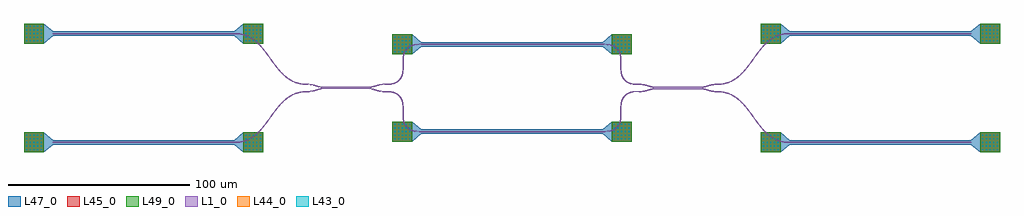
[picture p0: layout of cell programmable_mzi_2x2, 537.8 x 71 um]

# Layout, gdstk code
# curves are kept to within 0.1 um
from math import pi, radians
import gdstk
lib = gdstk.Library(unit=1e-6, precision=1e-09)
def R(c, l, rs):  # rectangles x0, y0, x1, y1
    for r in rs: c.add(gdstk.rectangle(r[:2], r[2:], *l))
def A(c, l, x, y, w, h, nx, ny, dx, dy):  # array of equal rectangles
    R(c, l, [(x+i*dx, y+j*dy, x+i*dx+w, y+j*dy+h) for i in range(nx) for j in range(ny)])
def P(c, l, *ps):  # polygons
    for p in ps: c.add(gdstk.Polygon(p, *l))
L1_0 = (1, 0)
L43_0 = (43, 0)
L44_0 = (44, 0)
L45_0 = (45, 0)
L47_0 = (47, 0)
L49_0 = (49, 0)

coupler_gdsfactorypcompo = lib.new_cell('coupler_gdsfactorypcomponentspcouplerspcoupler_G0p236_L_64f00263')
P(coupler_gdsfactorypcompo, L1_0, [(-10,-1.882),(-10,-1.382),(-8.633,-1.335),(-7.417,-1.193),(-6.249,-0.938),(-3.065,-0.019),(-1.652,0.182),(-0.303,0.248),(24.011,0.226),(26.256,-0.059),(30.222,-1.159),(31.511,-1.326),(33,-1.382),(33,-1.882),(30.877,-1.764),(29.291,-1.466),(26.059,-0.528),(24.952,-0.351),(23.719,-0.262),(-0.297,-0.252),(-1.725,-0.327),(-3.059,-0.528),(-6.034,-1.397),(-7.335,-1.686),(-8.597,-1.834)],
  [(0,0.486),(-1.403,0.534),(-2.665,0.682),(-3.796,0.925),(-7.126,1.877),(-8.511,2.062),(-10,2.118),(-10,2.618),(-8.597,2.57),(-7.335,2.422),(-6.204,2.179),(-2.874,1.227),(-1.489,1.042),(0,0.986),(23.986,1.009),(26.24,1.303),(28.95,2.11),(30.132,2.386),(31.471,2.56),(33,2.618),(33,2.118),(31.511,2.062),(30.222,1.895),(29.086,1.629),(26.441,0.837),(24.275,0.525)])

bend_euler_gdsfactorypco = lib.new_cell('bend_euler_gdsfactorypcomponentspbendspbend_euler_RNone_387600b2')
P(bend_euler_gdsfactorypco, L1_0, [(0,-0.25),(0,0.25),(2.881,0.353),(3.952,0.52),(4.99,0.806),(6.431,1.505),(7.575,2.425),(8.495,3.569),(9.194,5.01),(9.48,6.048),(9.647,7.119),(9.75,10),(10.25,10),(10.158,7.205),(9.797,5.254),(9.457,4.312),(9.066,3.545),(8.5,2.715),(7.928,2.072),(7.285,1.5),(6.455,0.934),(5.688,0.543),(4.746,0.203),(2.795,-0.158)])

straight_gdsfactorypcomp = lib.new_cell('straight_gdsfactorypcomponentspwaveguidespstraight_L2_N_815d3d03')
R(straight_gdsfactorypcomp, L1_0, [(0,-0.25,2,0.25)])

straight_heater_metal_un = lib.new_cell('straight_heater_metal_undercut_gdsfactorypcomponentspwa_dd0fab64')
R(straight_heater_metal_un, L1_0, [(0,-0.25,100,0.25)])
A(straight_heater_metal_un, L43_0, -14.75, -4.35, 0.7, 0.7, 5, 5, 2, 2)
A(straight_heater_metal_un, L43_0, 106.05, -4.35, 0.7, 0.7, 5, 5, 2, 2)
A(straight_heater_metal_un, L44_0, -14.75, -4.35, 0.7, 0.7, 5, 5, 2, 2)
A(straight_heater_metal_un, L44_0, 106.05, -4.35, 0.7, 0.7, 5, 5, 2, 2)
R(straight_heater_metal_un, L45_0, [(-15.9,-5.5,-4.9,5.5), (104.9,-5.5,115.9,5.5)])
P(straight_heater_metal_un, L47_0, [(-15.9,-5.5),(-15.9,5.5),(-4.9,5.5),(0.1,1.25),(99.9,1.25),(104.9,5.5),(115.9,5.5),(115.9,-5.5),(104.9,-5.5),(99.9,-1.25),(0.1,-1.25),(-4.9,-5.5)])
R(straight_heater_metal_un, L49_0, [(-15.9,-5.5,-4.9,5.5), (104.9,-5.5,115.9,5.5)])

mzi_gdsfactorypcomponent = lib.new_cell('mzi_gdsfactorypcomponentspmzispmzi_DL0_LY2_LX100_Bbend__c4922465')
mzi_gdsfactorypcomponent.add(gdstk.Reference(coupler_gdsfactorypcompo, (0,0)))
mzi_gdsfactorypcomponent.add(gdstk.Reference(bend_euler_gdsfactorypco, (33,-1.632), x_reflection=True))
mzi_gdsfactorypcomponent.add(gdstk.Reference(bend_euler_gdsfactorypco, (43,-13.632), rotation=3*pi/2))
mzi_gdsfactorypcomponent.add(gdstk.Reference(bend_euler_gdsfactorypco, (33,2.368)))
mzi_gdsfactorypcomponent.add(gdstk.Reference(bend_euler_gdsfactorypco, (53,24.368), rotation=pi))
mzi_gdsfactorypcomponent.add(gdstk.Reference(bend_euler_gdsfactorypco, (163,14.368), rotation=pi/2))
mzi_gdsfactorypcomponent.add(gdstk.Reference(bend_euler_gdsfactorypco, (163,12.368), rotation=3*pi/2))
mzi_gdsfactorypcomponent.add(gdstk.Reference(bend_euler_gdsfactorypco, (153,-23.632)))
mzi_gdsfactorypcomponent.add(gdstk.Reference(bend_euler_gdsfactorypco, (173,-1.632), rotation=pi))
mzi_gdsfactorypcomponent.add(gdstk.Reference(straight_gdsfactorypcomp, (43,12.368), rotation=pi/2))
mzi_gdsfactorypcomponent.add(gdstk.Reference(straight_gdsfactorypcomp, (43,-11.632), rotation=3*pi/2))
mzi_gdsfactorypcomponent.add(gdstk.Reference(straight_heater_metal_un, (53,24.368)))
mzi_gdsfactorypcomponent.add(gdstk.Reference(straight_heater_metal_un, (53,-23.632)))
mzi_gdsfactorypcomponent.add(gdstk.Reference(coupler_gdsfactorypcompo, (206,0), rotation=pi, x_reflection=True))
mzi_gdsfactorypcomponent.add(gdstk.Reference(straight_gdsfactorypcomp, (163,12.368), rotation=pi/2))
mzi_gdsfactorypcomponent.add(gdstk.Reference(straight_gdsfactorypcomp, (163,-13.632), rotation=pi/2))

bend_s_gdsfactorypcompon = lib.new_cell('bend_s_gdsfactorypcomponentspbendspbend_s_S40_m28_N99_C_4fb45fa0')
P(bend_s_gdsfactorypcompon, L1_0, [(40,-28.25),(38.786,-28.215),(37.053,-28.036),(35.953,-27.836),(34.385,-27.423),(31.969,-26.457),(30.627,-25.728),(29.36,-24.898),(28.158,-23.978),(27.017,-22.978),(24.546,-20.391),(22.271,-17.549),(17.953,-11.59),(16.058,-9.117),(14.06,-6.804),(11.903,-4.727),(10.748,-3.8),(9.535,-2.96),(8.254,-2.217),(6.9,-1.578),(4.968,-0.906),(3.413,-0.548),(1.76,-0.326),(0,-0.25),(0,0.25),(1.214,0.215),(2.947,0.036),(4.047,-0.164),(5.615,-0.577),(8.031,-1.543),(9.373,-2.272),(10.64,-3.102),(11.842,-4.022),(12.983,-5.022),(15.454,-7.609),(17.729,-10.451),(22.047,-16.41),(23.942,-18.883),(25.94,-21.196),(28.097,-23.273),(29.252,-24.2),(30.465,-25.04),(31.746,-25.783),(33.1,-26.422),(35.032,-27.094),(36.587,-27.452),(38.24,-27.674),(40,-27.75)])

c_bend_s_gdsfactorypcompon = lib.new_cell('bend_s_gdsfactorypcomponentspbendspbend_s_S40_28_N99_CS_5f859ffc')
P(c_bend_s_gdsfactorypcompon, L1_0, [(0,-0.25),(0,0.25),(1.76,0.326),(3.413,0.548),(4.968,0.906),(6.9,1.578),(8.254,2.217),(9.535,2.96),(10.748,3.8),(11.903,4.727),(14.06,6.804),(16.058,9.117),(17.953,11.59),(22.271,17.549),(24.546,20.391),(27.017,22.978),(28.158,23.978),(29.36,24.898),(30.627,25.728),(31.969,26.457),(34.385,27.423),(35.953,27.836),(37.053,28.036),(38.786,28.215),(40,28.25),(40,27.75),(38.24,27.674),(36.587,27.452),(35.032,27.094),(33.1,26.422),(31.746,25.783),(30.465,25.04),(29.252,24.2),(28.097,23.273),(25.94,21.196),(23.942,18.883),(22.047,16.41),(17.729,10.451),(15.454,7.609),(12.983,5.022),(11.842,4.022),(10.64,3.102),(9.373,2.272),(8.031,1.543),(5.615,0.577),(4.047,0.164),(2.947,-0.036),(1.214,-0.215)])

programmable_mzi_2x2 = lib.new_cell('programmable_mzi_2x2')
programmable_mzi_2x2.add(gdstk.Reference(mzi_gdsfactorypcomponent, (0,0)))
programmable_mzi_2x2.add(gdstk.Reference(straight_heater_metal_un, (-150,30.368)))
programmable_mzi_2x2.add(gdstk.Reference(bend_s_gdsfactorypcompon, (-50,30.368)))
programmable_mzi_2x2.add(gdstk.Reference(straight_heater_metal_un, (-150,-29.632)))
programmable_mzi_2x2.add(gdstk.Reference(c_bend_s_gdsfactorypcompon, (-50,-29.632)))
programmable_mzi_2x2.add(gdstk.Reference(straight_heater_metal_un, (256,30.368)))
programmable_mzi_2x2.add(gdstk.Reference(c_bend_s_gdsfactorypcompon, (216,2.368)))
programmable_mzi_2x2.add(gdstk.Reference(straight_heater_metal_un, (256,-29.632)))
programmable_mzi_2x2.add(gdstk.Reference(bend_s_gdsfactorypcompon, (216,-1.632)))

lib.write_gds('programmable_mzi_2x2.gds')
